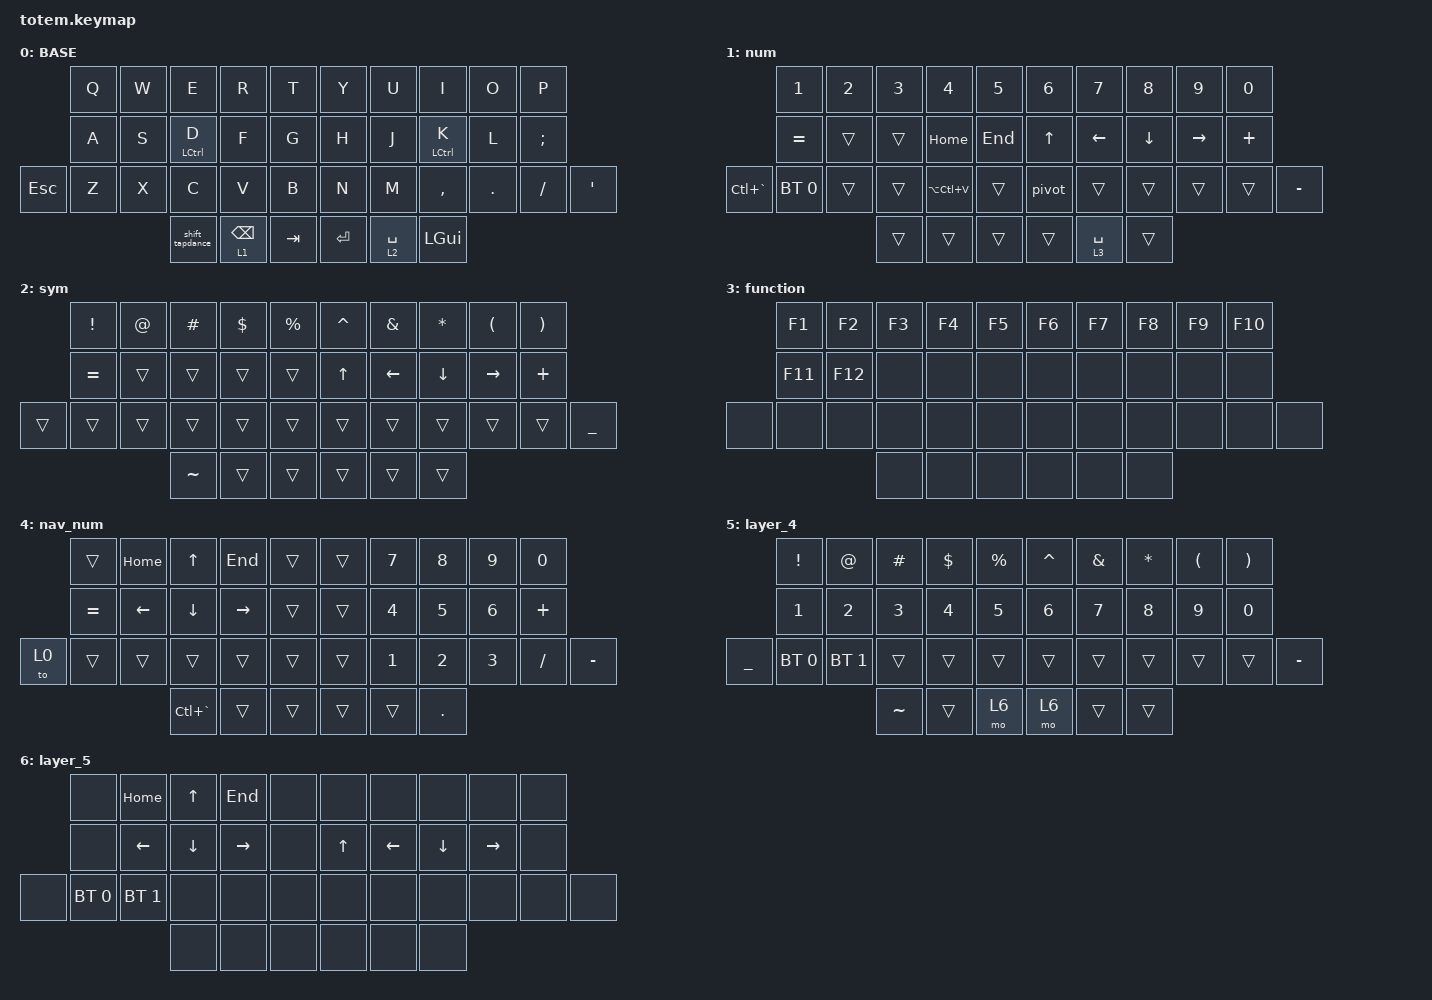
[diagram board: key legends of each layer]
//
//                                                        ▀▀▀▀▀     ▀▀▀▀▀          ▀▀█▀▀
//                                                        ▄▀▀▀▄  ▄  ▄▀▀▀▄  ▄  ▄▀▀▀▄  █  ▄▀▀▀▄
//                                                        █   █  █  █   █  █  █   █  █  █   █
//                                                         ▀▀▀   █   ▀▀▀   █   ▀▀▀   ▀   ▀▀▀
//                                                               █      ▄▄▄█▄▄▄    █   █  
//                                                               ▀      █  █  █     █▄█
//                                                             ▀▀▀▀▀    █  █  █      ▀
//                                                                      ▀  ▀  ▀
//
// ▄▄▄▄▄▄▄▄▄▄▄▄▄▄▄▄▄▄▄▄▄▄▄▄▄▄▄▄▄▄▄▄▄▄▄▄▄▄▄▄▄▄▄▄▄▄▄▄▄▄▄▄▄▄▄▄▄▄▄▄▄▄▄▄▄▄▄▄▄▄▄▄▄▄▄▄▄▄▄▄▄▄▄▄▄▄▄▄▄▄▄▄▄▄▄▄▄▄▄▄▄▄▄▄▄▄▄▄▄▄▄▄▄▄▄▄▄▄▄▄▄▄▄▄▄▄▄▄▄▄▄▄▄▄▄▄▄▄▄▄▄▄▄▄▄▄▄▄▄

#include <dt-bindings/zmk/mouse.h>
#include <behaviors.dtsi>
#include <dt-bindings/zmk/bt.h>
#include <dt-bindings/zmk/keys.h>

#define BASE 0
#define NAV  1
#define SYM  2
#define ADJ  3
#define TVP1 4
#define TVP2 5

&mt {
    quick-tap-ms = <175>;
    global-quick-tap = <75>;
    flavor = "balanced";
    tapping-term-ms = <280>;
};

&sk {
    quick-release;
    release-after-ms = <1500>;
};

&caps_word {
};

&mmv {
};

&msc {
};

/ {
    combos {
        compatible = "zmk,combos";

        ctrl_l {
            bindings = <&kp LCTRL>;
            key-positions = <11 12>;
            require-prior-idle-ms = <150>;
        };

        ctrl_r {
            bindings = <&kp LCTRL>;
            key-positions = <18 17>;
            require-prior-idle-ms = <150>;
        };

        plus {
            bindings = <&kp PLUS>;
            key-positions = <19 18>;
            require-prior-idle-ms = <150>;
        };

        copy {
            bindings = <&kp LC(C)>;
            key-positions = <22 23>;
            require-prior-idle-ms = <150>;
        };

        paste {
            bindings = <&kp LC(V)>;
            key-positions = <23 24>;
            require-prior-idle-ms = <150>;
        };

        pivot {
            bindings = <&pivot>;
            key-positions = <26 27>;
            require-prior-idle-ms = <150>;
        };

        alt {
            bindings = <&sk LEFT_ALT>;
            key-positions = <0 1>;
            require-prior-idle-ms = <150>;
        };

        minus {
            bindings = <&kp MINUS>;
            key-positions = <16 17>;
            require-prior-idle-ms = <150>;
        };

        ctrlshft {
            bindings = <&kp LS(LCTRL)>;
            key-positions = <11 12 13>;
            require-prior-idle-ms = <150>;
        };

        delete {
            bindings = <&kp DELETE>;
            key-positions = <8 9>;
            require-prior-idle-ms = <150>;
        };

        alt_paste {
            bindings = <&kp LC(LA(V))>;
            key-positions = <24 22 23>;
            require-prior-idle-ms = <150>;
        };

        cut {
            bindings = <&kp LC(X)>;
            key-positions = <22 21>;
            require-prior-idle-ms = <150>;
        };

        left_parenthesis {
            bindings = <&kp LEFT_PARENTHESIS>;
            key-positions = <2 1>;
            require-prior-idle-ms = <150>;
        };

        right_parenthesis {
            bindings = <&kp RIGHT_PARENTHESIS>;
            key-positions = <7 8>;
            require-prior-idle-ms = <150>;
        };

        ctrlshftr {
            bindings = <&kp LS(LCTRL)>;
            key-positions = <16 17 18>;
            require-prior-idle-ms = <150>;
        };

        percent {
            bindings = <&kp PERCENT>;
            key-positions = <3 4>;
            require-prior-idle-ms = <150>;
        };

        and {
            bindings = <&kp AMPERSAND>;
            key-positions = <5 6>;
            require-prior-idle-ms = <150>;
        };

        equals {
            bindings = <&kp EQUAL>;
            key-positions = <16 18>;
            require-prior-idle-ms = <150>;
        };

        terminal {
            bindings = <&kp LC(LA(T))>;
            key-positions = <0 1 2 3>;
        };
    };

    macros {
        gif: gif {
            label = "giphy";
            compatible = "zmk,behavior-macro";
            #binding-cells = <0>;
            bindings =
                <&macro_press>,
                <&kp LSHFT>,
                <&macro_tap>,
                <&kp N2>,
                <&macro_release>,
                <&kp LSHFT>,
                <&macro_tap>,
                <&kp G &kp I &kp F>;
        };

        pivot: pivot {
            compatible = "zmk,behavior-macro";
            #binding-cells = <0>;
            bindings = <&sk LEFT_ALT &kp N &kp V &kp T>;
            label = "PIVOT";
        };
    };

    behaviors {
        hold_layer_tap: hold_layer_tap {
            compatible = "zmk,behavior-hold-tap";
            label = "HOLD_LAYER_TAP";
            bindings = <&mo>, <&kp>;

            #binding-cells = <2>;
            tapping-term-ms = <280>;
            flavor = "balanced";
            quick-tap-ms = <175>;
            require-prior-idle-ms = <150>;
            hold-trigger-on-release;
        };

        hold_tap: hold_tap {
            compatible = "zmk,behavior-hold-tap";
            label = "HOLD_TAP";
            bindings = <&kp>, <&kp>;

            #binding-cells = <2>;
            tapping-term-ms = <280>;
            flavor = "balanced";
            quick-tap-ms = <200>;
            require-prior-idle-ms = <125>;
            hold-trigger-on-release;
        };

        shift_tapdance: shift_tapdance {
            compatible = "zmk,behavior-tap-dance";
            label = "SHIFT_TAPDANCE";
            #binding-cells = <0>;
            bindings = <&sk LEFT_SHIFT>, <&caps_word>;
        };
    };

    keymap {
        compatible = "zmk,keymap";

        // ▄▄▄▄▄▄▄▄▄▄▄▄▄▄▄▄▄▄▄▄▄▄▄▄▄▄▄▄▄▄▄▄▄▄▄▄▄▄▄▄▄▄▄▄▄▄▄▄▄▄▄▄▄▄▄▄▄▄▄▄▄▄▄▄▄▄▄▄▄▄▄▄▄▄▄▄▄▄▄▄▄▄▄▄▄▄▄▄▄▄▄▄▄▄▄▄▄▄▄▄▄▄▄▄▄▄▄▄▄▄▄▄▄▄▄▄▄▄▄▄▄▄▄▄▄▄▄▄▄▄▄▄▄▄▄▄▄▄▄▄▄▄▄▄▄▄▄▄▄

        base_layer {
            // ┏━━━━━━━━━━━━━━━━━━━━━━━━━━━━━━━━━━━━━━━┓

            label = "BASE";

            // ┗━━━━━━━━━━━━━━━━━━━━━━━━━━━━━━━━━━━━━━━┛
            //             ┏━━━━━━━━━━━┳━━━━━━━━━━━┳━━━━━━━━━━━┳━━━━━━━━━━━┳━━━━━━━━━━━┓   ┏━━━━━━━━━━━┳━━━━━━━━━━━┳━━━━━━━━━━━┳━━━━━━━━━━━┳━━━━━━━━━━━┓
            //             ┃     Q     ┃     W     ┃     F     ┃     P     ┃     G     ┃   ┃     J     ┃     L     ┃     U     ┃     Y     ┃     ;     ┃
            //             ┣━━━━━━━━━━━╋━━━━━━━━━━━╋━━━━━━━━━━━╋━━━━━━━━━━━╋━━━━━━━━━━━┫   ┣━━━━━━━━━━━╋━━━━━━━━━━━╋━━━━━━━━━━━╋━━━━━━━━━━━╋━━━━━━━━━━━┫
            //             ┃     A     ┃     R     ┃     S     ┃     T     ┃     D     ┃   ┃     H     ┃     N     ┃     E     ┃     I     ┃     O     ┃
            // ┏━━━━━━━━━━━╋━━━━━━━━━━━╋━━━━━━━━━━━╋━━━━━━━━━━━╋━━━━━━━━━━━╋━━━━━━━━━━━┫   ┣━━━━━━━━━━━╋━━━━━━━━━━━╋━━━━━━━━━━━╋━━━━━━━━━━━╋━━━━━━━━━━━╋━━━━━━━━━━━┓
            // ┃     Q     ┃     Z     ┃     X     ┃     C     ┃     V     ┃     B     ┃   ┃     K     ┃     M     ┃     ,     ┃     .     ┃     /     ┃     \     ┃
            // ┗━━━━━━━━━━━┻━━━━━━━━━━━┻━━━━━━━━━━━╋━━━━━━━━━━━╋━━━━━━━━━━━╋━━━━━━━━━━━┫   ┣━━━━━━━━━━━╋━━━━━━━━━━━╋━━━━━━━━━━━╋━━━━━━━━━━━┻━━━━━━━━━━━┻━━━━━━━━━━━┛
            //                                     ┃    DEL    ┃    TAB    ┃    SPC    ┃   ┃   ENTER   ┃           ┃   BSPC    ┃
            //                                     ┗━━━━━━━━━━━┻━━━━━━━━━━━┻━━━━━━━━━━━┛   ┗━━━━━━━━━━━┻━━━━━━━━━━━┻━━━━━━━━━━━┛

            bindings = <
            &kp Q  &kp W  &kp E                     &kp R                        &kp T      &kp Y      &kp U                    &kp I                     &kp O    &kp P
            &kp A  &kp S  &hold_tap LEFT_CONTROL D  &kp F                        &kp G      &kp H      &kp J                    &hold_tap LEFT_CONTROL K  &kp L    &kp SEMICOLON
&kp ESCAPE  &kp Z  &kp X  &kp C                     &kp V                        &kp B      &kp N      &kp M                    &kp COMMA                 &kp DOT  &kp FSLH       &kp SQT
                          &shift_tapdance           &hold_layer_tap 1 BACKSPACE  &kp TAB    &kp ENTER  &hold_layer_tap 2 SPACE  &kp LEFT_GUI
            >;
        };

        num {
            bindings = <
               &kp N1        &kp N2  &kp N3  &kp N4         &kp N5     &kp N6  &kp N7                   &kp N8    &kp N9     &kp N0
               &kp EQUAL     &trans  &trans  &kp HOME       &kp END    &kp UP  &kp LEFT                 &kp DOWN  &kp RIGHT  &kp PLUS
&kp LC(GRAVE)  &bt BT_SEL 0  &trans  &trans  &kp LA(LC(V))  &trans     &pivot  &trans                   &trans    &trans     &trans    &kp MINUS
                                     &trans  &trans         &trans     &trans  &hold_layer_tap 3 SPACE  &trans
            >;
        };

        sym {
            bindings = <
        &kp EXCLAMATION  &kp AT  &kp HASH   &kp DOLLAR  &kp PERCENT    &kp CARET     &kp AMPERSAND  &kp STAR  &kp LEFT_PARENTHESIS  &kp RIGHT_PARENTHESIS
        &kp EQUAL        &trans  &trans     &trans      &trans         &kp UP_ARROW  &kp LEFT       &kp DOWN  &kp RIGHT             &kp PLUS
&trans  &trans           &trans  &trans     &trans      &trans         &trans        &trans         &trans    &trans                &trans                 &kp UNDERSCORE
                                 &kp TILDE  &trans      &trans         &trans        &trans         &trans
            >;
        };

        function {
            bindings = <
       &kp F1   &kp F2   &kp F3  &kp F4  &kp F5    &kp F6  &kp F7  &kp F8  &kp F9  &kp F10
       &kp F11  &kp F12  &none   &none   &none     &none   &none   &none   &none   &none
&none  &none    &none    &none   &none   &none     &none   &none   &none   &none   &none    &none
                         &none   &none   &none     &none   &none   &none
            >;
        };

        nav_num {
            bindings = <
       &trans     &kp HOME  &kp UP         &kp END    &trans    &trans  &kp N7  &kp N8      &kp N9  &kp N0
       &kp EQUAL  &kp LEFT  &kp DOWN       &kp RIGHT  &trans    &trans  &kp N4  &kp N5      &kp N6  &kp PLUS
&to 0  &trans     &trans    &trans         &trans     &trans    &trans  &kp N1  &kp N2      &kp N3  &kp FSLH  &kp MINUS
                            &kp LC(GRAVE)  &trans     &trans    &trans  &trans  &kp PERIOD
            >;
        };

        layer_4 {
            bindings = <
                &kp EXCLAMATION  &kp AT        &kp HASH   &kp DOLLAR  &kp PERCENT    &kp CARET  &kp AMPERSAND  &kp STAR  &kp LEFT_PARENTHESIS  &kp RIGHT_PARENTHESIS
                &kp N1           &kp N2        &kp N3     &kp N4      &kp N5         &kp N6     &kp N7         &kp N8    &kp N9                &kp N0
&kp UNDERSCORE  &bt BT_SEL 0     &bt BT_SEL 1  &trans     &trans      &trans         &trans     &trans         &trans    &trans                &trans                 &kp MINUS
                                               &kp TILDE  &trans      &mo 6          &mo 6      &trans         &trans
            >;
        };

        layer_5 {
            bindings = <
       &none         &kp HOME      &kp UP_ARROW  &kp END    &none    &none         &none           &none     &none      &none
       &none         &kp LEFT      &kp DOWN      &kp RIGHT  &none    &kp UP_ARROW  &kp LEFT_ARROW  &kp DOWN  &kp RIGHT  &none
&none  &bt BT_SEL 0  &bt BT_SEL 1  &none         &none      &none    &none         &none           &none     &none      &none  &none
                                   &none         &none      &none    &none         &none           &none
            >;
        };
    };
};
